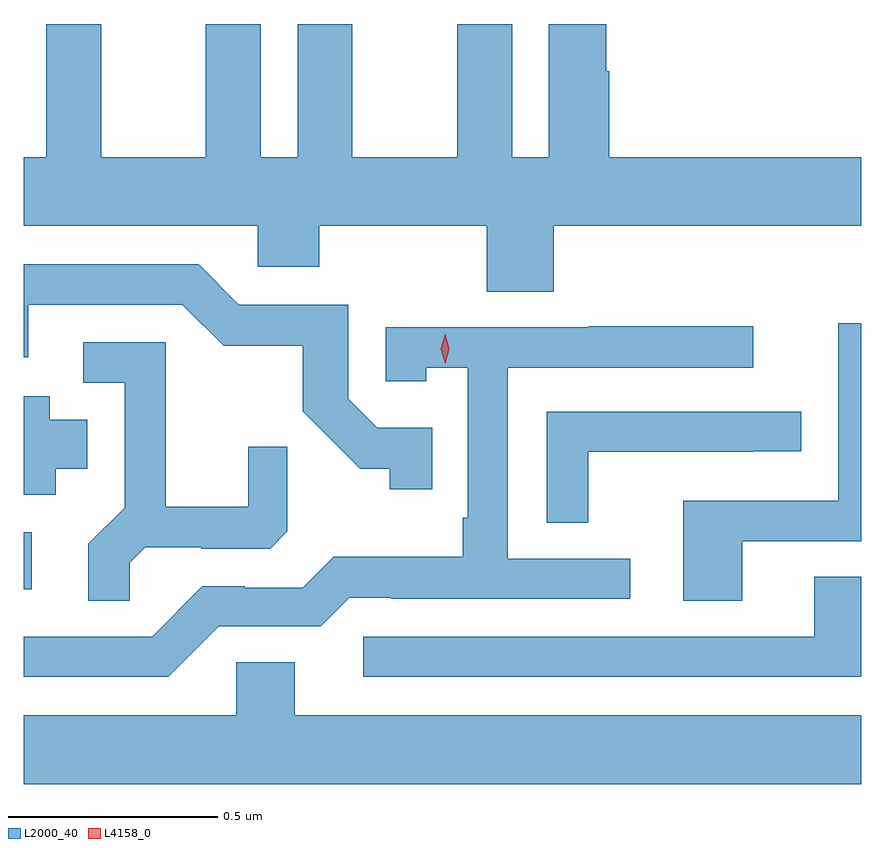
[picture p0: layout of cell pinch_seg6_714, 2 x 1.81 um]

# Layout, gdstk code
import gdstk
lib = gdstk.Library(unit=1e-6, precision=1e-09)
def R(c, l, rs):  # rectangles x0, y0, x1, y1
    for r in rs: c.add(gdstk.rectangle(r[:2], r[2:], *l))
def P(c, l, *ps):  # polygons
    for p in ps: c.add(gdstk.Polygon(p, *l))
L2000_40 = (2000, 40)
L4158_0 = (4158, 0)

pinch_seg6_714 = lib.new_cell('pinch_seg6_714')
R(pinch_seg6_714, L2000_40, [(460.928,941.141,460.948,941.277)])
P(pinch_seg6_714, L2000_40, [(462.194,942.008),(462.928,942.008),(462.928,942.172),(462.326,942.172),(462.326,942.377),(462.319,942.377),(462.319,942.49),(462.182,942.49),(462.182,942.172),(462.094,942.172),(462.094,942.49),(461.963,942.49),(461.963,942.172),(461.713,942.172),(461.713,942.49),(461.582,942.49),(461.582,942.172),(461.494,942.172),(461.494,942.49),(461.363,942.49),(461.363,942.172),(461.113,942.172),(461.113,942.49),(460.982,942.49),(460.982,942.172),(460.928,942.172),(460.928,942.008),(461.487,942.008),(461.487,941.91),(461.634,941.91),(461.634,942.008),(462.034,942.008),(462.034,941.851),(462.194,941.851)],
  [(461.903,941.526),(461.772,941.526),(461.703,941.595),(461.703,941.82),(461.442,941.82),(461.346,941.916),(460.928,941.916),(460.928,941.694),(460.939,941.694),(460.939,941.82),(461.307,941.82),(461.406,941.722),(461.595,941.722),(461.595,941.566),(461.732,941.429),(461.802,941.429),(461.802,941.379),(461.903,941.379)],
  [(462.643,941.256),(462.928,941.256),(462.928,941.776),(462.873,941.776),(462.873,941.352),(462.503,941.352),(462.503,941.113),(462.643,941.113)],
  [(461.394,941.052),(461.637,941.052),(461.706,941.121),(461.806,941.121),(461.806,941.118),(462.376,941.118),(462.376,941.214),(462.084,941.214),(462.084,941.67),(462.67,941.67),(462.67,941.769),(462.277,941.769),(462.277,941.766),(461.793,941.766),(461.793,941.637),(461.889,941.637),(461.889,941.669),(461.988,941.669),(461.988,941.311),(461.976,941.311),(461.976,941.218),(461.668,941.218),(461.595,941.145),(461.456,941.145),(461.456,941.148),(461.355,941.148),(461.235,941.028),(460.928,941.028),(460.928,940.932),(461.274,940.932)],
  [(461.181,941.204),(461.218,941.241),(461.352,941.241),(461.352,941.238),(461.517,941.238),(461.558,941.279),(461.558,941.481),(461.464,941.481),(461.464,941.338),(461.267,941.338),(461.267,941.73),(461.07,941.73),(461.07,941.634),(461.169,941.634),(461.169,941.335),(461.083,941.249),(461.083,941.113),(461.181,941.113)],
  [(461.005,941.429),(461.08,941.429),(461.08,941.545),(460.99,941.545),(460.99,941.602),(460.928,941.602),(460.928,941.366),(461.005,941.366)],
  [(462.276,941.469),(462.671,941.469),(462.671,941.47),(462.784,941.47),(462.784,941.565),(462.177,941.565),(462.177,941.299),(462.276,941.299)],
  [(462.928,941.171),(462.815,941.171),(462.815,941.028),(461.739,941.028),(461.739,940.932),(462.928,940.932)],
  [(462.928,940.84),(461.575,940.84),(461.575,940.967),(461.436,940.967),(461.436,940.84),(460.928,940.84),(460.928,940.676),(462.928,940.676)])
P(pinch_seg6_714, L4158_0, [(461.934,941.679),(461.934,941.679),(461.924,941.715),(461.934,941.75),(461.934,941.751),(461.934,941.75),(461.944,941.715),(461.934,941.679)])

lib.write_gds('pinch_seg6_714.gds')
